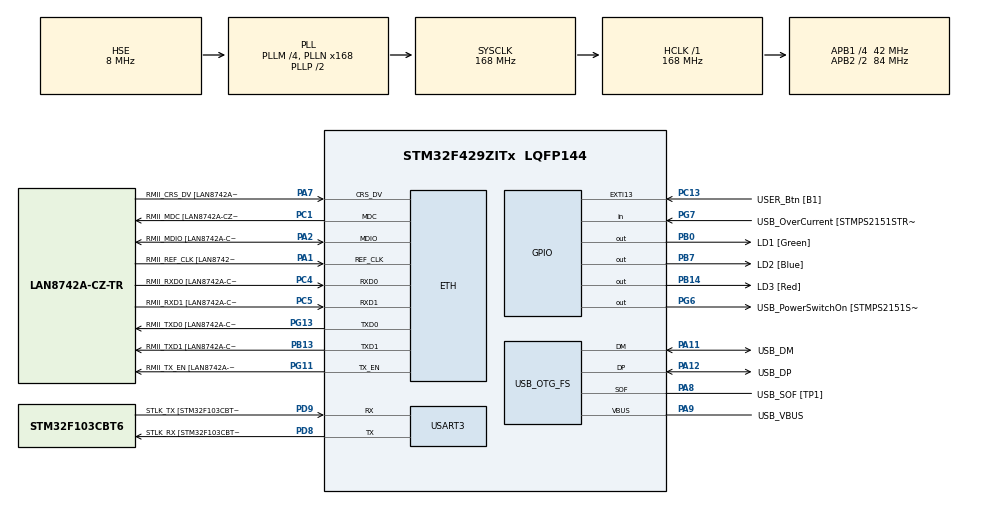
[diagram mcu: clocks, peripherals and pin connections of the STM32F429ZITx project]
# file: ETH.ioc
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ETH.MediaInterface=HAL_ETH_RMII_MODE
ETH.PHY_Name=LAN8742A_PHY_ADDRESS
ETH.PHY_Value=0
ETH.PhyAddress=0
LWIP.BSP.number=1
LWIP.GATEWAY_ADDRESS=010.000.002.053
LWIP.IP_ADDRESS=010.000.002.010
LWIP.LWIP_DHCP=0
LWIP.LWIP_HTTPD=1
LWIP.LWIP_HTTPD_CGI=1
LWIP.LWIP_HTTPD_CGI_SSI=0
LWIP.LWIP_HTTPD_MAX_TAG_NAME_LEN=16
LWIP.LWIP_HTTPD_SSI=1
LWIP.NETMASK_ADDRESS=255.255.255.000
LWIP.Version=v2.1.2_Cube
LWIP0.BSP.STBoard=false
LWIP0.BSP.api=BSP_COMPONENT_DRIVER
LWIP0.BSP.component=LAN8742
LWIP0.BSP.instance=LAN8742
LWIP0.BSP.name=Driver_PHY
LWIP0.BSP.semaphore=S_LAN8742
LWIP0.BSP.solution=LAN8742
Mcu.Family=STM32F4
Mcu.Name=STM32F429ZITx
Mcu.Package=LQFP144
NVIC.PriorityGroup=NVIC_PRIORITYGROUP_4
NVIC.USART3_IRQn=true\:0\:0\:false\:false\:true\:true\:true\:true
PA1.GPIO_Label=RMII_REF_CLK [LAN8742A-CZ-TR_REFCLK0]
PA1.Mode=RMII
PA1.Signal=ETH_REF_CLK
PA10.GPIO_Label=USB_ID
PA10.Signal=USB_OTG_FS_ID
PA11.GPIO_Label=USB_DM
PA11.Mode=Device_Only
PA11.Signal=USB_OTG_FS_DM
PA12.GPIO_Label=USB_DP
PA12.Mode=Device_Only
PA12.Signal=USB_OTG_FS_DP
PA13.GPIO_Label=TMS
PA13.Mode=Serial_Wire
PA13.Signal=SYS_JTMS-SWDIO
PA14.GPIO_Label=TCK
PA14.Mode=Serial_Wire
PA14.Signal=SYS_JTCK-SWCLK
PA2.GPIO_Label=RMII_MDIO [LAN8742A-CZ-TR_MDIO]
PA2.Mode=RMII
PA2.Signal=ETH_MDIO
PA7.GPIO_Label=RMII_CRS_DV [LAN8742A-CZ-TR_CRS_DV]
PA7.Mode=RMII
PA7.Signal=ETH_CRS_DV
PA8.GPIO_Label=USB_SOF [TP1]
PA8.Mode=Activate_SOF_FS
PA8.Signal=USB_OTG_FS_SOF
PA9.GPIO_Label=USB_VBUS
PA9.Mode=Activate_VBUS
PA9.Signal=USB_OTG_FS_VBUS
PB0.GPIO_Label=LD1 [Green]
PB0.Signal=GPIO_Output
PB13.GPIO_Label=RMII_TXD1 [LAN8742A-CZ-TR_TXD1]
PB13.Mode=RMII
PB13.Signal=ETH_TXD1
PB14.GPIO_Label=LD3 [Red]
PB14.Signal=GPIO_Output
PB7.GPIO_Label=LD2 [Blue]
PB7.Signal=GPIO_Output
PC1.GPIO_Label=RMII_MDC [LAN8742A-CZ-TR_MDC]
PC1.Mode=RMII
PC1.Signal=ETH_MDC
PC13.GPIO_Label=USER_Btn [B1]
PC13.Signal=GPXTI13
PC14/OSC32_IN.Mode=LSE-External-Oscillator
PC14/OSC32_IN.Signal=RCC_OSC32_IN
PC15/OSC32_OUT.Mode=LSE-External-Oscillator
PC15/OSC32_OUT.Signal=RCC_OSC32_OUT
PC4.GPIO_Label=RMII_RXD0 [LAN8742A-CZ-TR_RXD0]
PC4.Mode=RMII
PC4.Signal=ETH_RXD0
PC5.GPIO_Label=RMII_RXD1 [LAN8742A-CZ-TR_RXD1]
PC5.Mode=RMII
PC5.Signal=ETH_RXD1
PD8.GPIO_Label=STLK_RX [STM32F103CBT6_PA3]
PD8.Mode=Asynchronous
PD8.Signal=USART3_TX
PD9.GPIO_Label=STLK_TX [STM32F103CBT6_PA2]
PD9.Mode=Asynchronous
PD9.Signal=USART3_RX
PG11.GPIO_Label=RMII_TX_EN [LAN8742A-CZ-TR_TXEN]
PG11.Mode=RMII
PG11.Signal=ETH_TX_EN
PG13.GPIO_Label=RMII_TXD0 [LAN8742A-CZ-TR_TXD0]
PG13.Mode=RMII
PG13.Signal=ETH_TXD0
PG6.GPIO_Label=USB_PowerSwitchOn [STMPS2151STR_EN]
PG6.Signal=GPIO_Output
PG7.GPIO_Label=USB_OverCurrent [STMPS2151STR_FAULT]
PG7.Signal=GPIO_Input
PH0/OSC_IN.GPIO_Label=MCO [STM32F103CBT6_PA8]
PH0/OSC_IN.Mode=HSE-External-Clock-Source
PH0/OSC_IN.Signal=RCC_OSC_IN
PH1/OSC_OUT.Mode=HSE-External-Clock-Source
PH1/OSC_OUT.Signal=RCC_OSC_OUT
ProjectManager.HeapSize=0x200
ProjectManager.StackSize=0x400
ProjectManager.TargetToolchain=STM32CubeIDE
RCC.48MHZClocksFreq_Value=48000000
RCC.AHBFreq_Value=168000000
RCC.APB1CLKDivider=RCC_HCLK_DIV4
RCC.APB1Freq_Value=42000000
RCC.APB1TimFreq_Value=84000000
RCC.APB2CLKDivider=RCC_HCLK_DIV2
RCC.APB2Freq_Value=84000000
RCC.APB2TimCLKDivider=2
RCC.APB2TimFreq_Value=168000000
RCC.CortexFreq_Value=168000000
RCC.HCLKFreq_Value=168000000
RCC.HSE_VALUE=8000000
RCC.HSI_VALUE=16000000
RCC.PLLM=4
RCC.PLLMUL=RCC_PLL_MUL9
RCC.PLLN=168
RCC.PLLQ=7
RCC.PRESCALERUSB=RCC_USBCLKSOURCE_PLL_DIV1_5
RCC.SYSCLKFreq_VALUE=168000000
RCC.SYSCLKSource=RCC_SYSCLKSOURCE_PLLCLK
RCC.SYSCLKSourceVirtual=RCC_SYSCLKSOURCE_PLLCLK
RCC.USBFreq_Value=48000000
RCC.VCOOutputFreq_Value=336000000
USART3.VirtualMode=VM_ASYNC
USB_OTG_FS.VirtualMode=Device_Only
VP_LWIP_VS_Enabled.Mode=Enabled
board=NUCLEO-F429ZI

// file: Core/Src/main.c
/* USER CODE BEGIN Header */
/**
  ******************************************************************************
  * @file           : main.c
  * @brief          : Main program body
  ******************************************************************************
  * @attention
  *
  * Copyright (c) 2023 STMicroelectronics.
  * All rights reserved.
  *
  * This software is licensed under terms that can be found in the LICENSE file
  * in the root directory of this software component.
  * If no LICENSE file comes with this software, it is provided AS-IS.
  *
  ******************************************************************************
  */
/* USER CODE END Header */
#include "main.h"
#include "lwip.h"

/* USER CODE BEGIN Includes */
#include "lwip/apps/httpd.h"
#include "string.h"
#include "hbpf.h"
#include "debounceAvoid.h"
/* USER CODE END Includes */

/* USER CODE BEGIN PD */
#define LED2_ON         GPIOB->ODR |= LD2_Pin
#define LED2_OFF        GPIOB->ODR &= ~LD2_Pin
#define LED3_ON         GPIOB->ODR |= LD3_Pin
#define LED3_OFF        GPIOB->ODR &= ~LD3_Pin

/* USER CODE END PD */

UART_HandleTypeDef huart3;
extern ETH_HandleTypeDef heth;

ETH_MACFilterConfigTypeDef MACFilterConf;
/* USER CODE BEGIN PV */
struct Key_TypeDef key1;
struct Keys_Properties keysProperties;
char data[35];
/* USER CODE END PV */

void SystemClock_Config(void);
static void MX_GPIO_Init(void);
static void MX_USART3_UART_Init(void);

/* USER CODE BEGIN 0 */

void KeyInit(struct Key_TypeDef *keyx, struct Keys_Properties *keyprop)
{
   keyx->GPIOx = USER_Btn_GPIO_Port;
   keyx->pin = USER_Btn_Pin;
   keyx->shortPressID = 0;
   keyx->longPressID = 4;
   keyx->flags.autorepeat = 0;
   keyprop->autorepeatSpeed = 50;
   keyprop->shortPressDelay = 50;
   keyprop->longPressDelay = 1000;
}

void MACFilterInit(ETH_MACFilterConfigTypeDef *MACFilterConf)
{
   MACFilterConf->ReceiveAllMode = ENABLE;
}
/* USER CODE END 0 */

int main(void)
{

  /* MCU Configuration--------------------------------------------------------*/

  /* Reset of all peripherals, Initializes the Flash interface and the Systick. */
  HAL_Init();

  /* Configure the system clock */
  SystemClock_Config();

  /* Initialize all configured peripherals */
  MX_GPIO_Init();
  MX_LWIP_Init();
  /* USER CODE BEGIN 2 */
  MX_USART3_UART_Init();
  KeyInit(&key1, &keysProperties);
  MACFilterInit(&MACFilterConf);
  HAL_ETH_SetMACFilterConfig(&heth, &MACFilterConf);
  /* USER CODE END 2 */

  /* Infinite loop */
  while (1)
  {

    /* USER CODE BEGIN 3 */
     MX_LWIP_Process();

     if (KEY_READY)
     {
    	 RESET_KEY_READY;
    	 sprintf(data, "Amount of passed packets: %lu\r\n", filteredCounter);
    	 HAL_UART_Transmit_IT(&huart3, data, sizeof(data));
     }
  }
  /* USER CODE END 3 */
}

void SystemClock_Config(void)
{
  RCC_OscInitTypeDef RCC_OscInitStruct = {0};
  RCC_ClkInitTypeDef RCC_ClkInitStruct = {0};

  /** Configure the main internal regulator output voltage
  */
  __HAL_RCC_PWR_CLK_ENABLE();
  __HAL_PWR_VOLTAGESCALING_CONFIG(PWR_REGULATOR_VOLTAGE_SCALE1);

  /** Initializes the RCC Oscillators according to the specified parameters
  * in the RCC_OscInitTypeDef structure.
  */
  RCC_OscInitStruct.OscillatorType = RCC_OSCILLATORTYPE_HSE;
  RCC_OscInitStruct.HSEState = RCC_HSE_BYPASS;
  RCC_OscInitStruct.PLL.PLLState = RCC_PLL_ON;
  RCC_OscInitStruct.PLL.PLLSource = RCC_PLLSOURCE_HSE;
  RCC_OscInitStruct.PLL.PLLM = 4;
  RCC_OscInitStruct.PLL.PLLN = 168;
  RCC_OscInitStruct.PLL.PLLP = RCC_PLLP_DIV2;
  RCC_OscInitStruct.PLL.PLLQ = 7;
  if (HAL_RCC_OscConfig(&RCC_OscInitStruct) != HAL_OK)
  {
    Error_Handler();
  }

  /** Initializes the CPU, AHB and APB buses clocks
  */
  RCC_ClkInitStruct.ClockType = RCC_CLOCKTYPE_HCLK|RCC_CLOCKTYPE_SYSCLK
                              |RCC_CLOCKTYPE_PCLK1|RCC_CLOCKTYPE_PCLK2;
  RCC_ClkInitStruct.SYSCLKSource = RCC_SYSCLKSOURCE_PLLCLK;
  RCC_ClkInitStruct.AHBCLKDivider = RCC_SYSCLK_DIV1;
  RCC_ClkInitStruct.APB1CLKDivider = RCC_HCLK_DIV4;
  RCC_ClkInitStruct.APB2CLKDivider = RCC_HCLK_DIV2;

  if (HAL_RCC_ClockConfig(&RCC_ClkInitStruct, FLASH_LATENCY_5) != HAL_OK)
  {
    Error_Handler();
  }
}

static void MX_USART3_UART_Init(void)
{

  huart3.Instance = USART3;
  huart3.Init.BaudRate = 115200;
  huart3.Init.WordLength = UART_WORDLENGTH_8B;
  huart3.Init.StopBits = UART_STOPBITS_1;
  huart3.Init.Parity = UART_PARITY_NONE;
  huart3.Init.Mode = UART_MODE_TX_RX;
  huart3.Init.HwFlowCtl = UART_HWCONTROL_NONE;
  huart3.Init.OverSampling = UART_OVERSAMPLING_16;
  if (HAL_UART_Init(&huart3) != HAL_OK)
  {
    Error_Handler();
  }

}

static void MX_GPIO_Init(void)
{
  GPIO_InitTypeDef GPIO_InitStruct = {0};

  /* GPIO Ports Clock Enable */
  __HAL_RCC_GPIOC_CLK_ENABLE();
  __HAL_RCC_GPIOH_CLK_ENABLE();
  __HAL_RCC_GPIOA_CLK_ENABLE();
  __HAL_RCC_GPIOB_CLK_ENABLE();
  __HAL_RCC_GPIOD_CLK_ENABLE();
  __HAL_RCC_GPIOG_CLK_ENABLE();

  /*Configure GPIO pin Output Level */
  HAL_GPIO_WritePin(GPIOB, LD1_Pin|LD3_Pin|LD2_Pin, GPIO_PIN_RESET);

  /*Configure GPIO pin Output Level */
  HAL_GPIO_WritePin(USB_PowerSwitchOn_GPIO_Port, USB_PowerSwitchOn_Pin, GPIO_PIN_RESET);

  /*Configure GPIO pin : USER_Btn_Pin */
  GPIO_InitStruct.Pin = USER_Btn_Pin;
  GPIO_InitStruct.Mode = GPIO_MODE_IT_RISING;
  GPIO_InitStruct.Pull = GPIO_NOPULL;
  HAL_GPIO_Init(USER_Btn_GPIO_Port, &GPIO_InitStruct);

  /*Configure GPIO pins : LD1_Pin LD3_Pin LD2_Pin */
  GPIO_InitStruct.Pin = LD1_Pin|LD3_Pin|LD2_Pin;
  GPIO_InitStruct.Mode = GPIO_MODE_OUTPUT_PP;
  GPIO_InitStruct.Pull = GPIO_NOPULL;
  GPIO_InitStruct.Speed = GPIO_SPEED_FREQ_LOW;
  HAL_GPIO_Init(GPIOB, &GPIO_InitStruct);

  /*Configure GPIO pin : USB_PowerSwitchOn_Pin */
  GPIO_InitStruct.Pin = USB_PowerSwitchOn_Pin;
  GPIO_InitStruct.Mode = GPIO_MODE_OUTPUT_PP;
  GPIO_InitStruct.Pull = GPIO_NOPULL;
  GPIO_InitStruct.Speed = GPIO_SPEED_FREQ_LOW;
  HAL_GPIO_Init(USB_PowerSwitchOn_GPIO_Port, &GPIO_InitStruct);

  /*Configure GPIO pin : USB_OverCurrent_Pin */
  GPIO_InitStruct.Pin = USB_OverCurrent_Pin;
  GPIO_InitStruct.Mode = GPIO_MODE_INPUT;
  GPIO_InitStruct.Pull = GPIO_NOPULL;
  HAL_GPIO_Init(USB_OverCurrent_GPIO_Port, &GPIO_InitStruct);

}

void Error_Handler(void)
{
  __disable_irq();
  while (1)
  {
  }
}
